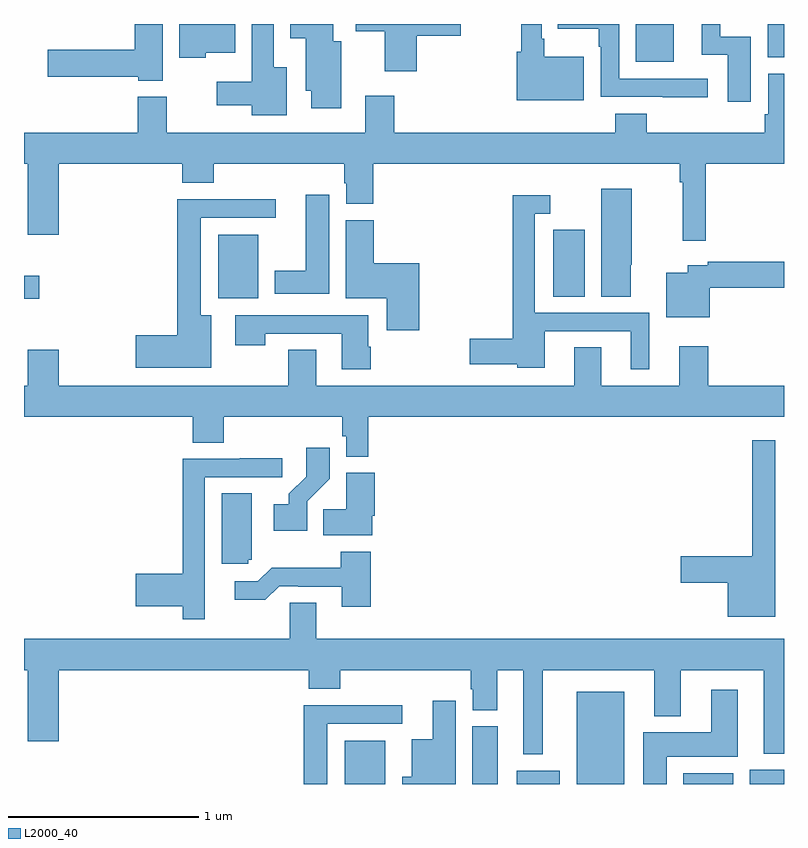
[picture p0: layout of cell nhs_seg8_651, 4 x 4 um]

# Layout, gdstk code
import gdstk
lib = gdstk.Library(unit=1e-6, precision=1e-09)
def R(c, l, rs):  # rectangles x0, y0, x1, y1
    for r in rs: c.add(gdstk.rectangle(r[:2], r[2:], *l))
def P(c, l, *ps):  # polygons
    for p in ps: c.add(gdstk.Polygon(p, *l))
L2000_40 = (2000, 40)

nhs_seg8_651 = lib.new_cell('nhs_seg8_651')
R(nhs_seg8_651, L2000_40, [(154.688,1115.9,154.9,1116.127), (155.36,1115.9,155.494,1116.204), (155.594,1115.9,155.821,1115.971), (155.909,1115.9,156.16,1116.385), (156.47,1115.9,156.733,1115.956), (156.821,1115.9,157,1115.974), (153,1118.453,153.079,1118.575), (154.022,1118.456,154.234,1118.791), (155.786,1118.464,155.95,1118.818), (156.221,1119.701,156.421,1119.9), (156.914,1119.726,157,1119.9)])
P(nhs_seg8_651, L2000_40, [(156.826,1119.834),(156.664,1119.834),(156.664,1119.9),(156.566,1119.9),(156.566,1119.738),(156.704,1119.738),(156.704,1119.492),(156.826,1119.492)],
  [(155.947,1119.727),(155.737,1119.727),(155.737,1119.823),(155.724,1119.823),(155.724,1119.9),(155.616,1119.9),(155.616,1119.754),(155.594,1119.754),(155.594,1119.5),(155.947,1119.5)],
  [(154.669,1119.808),(154.627,1119.808),(154.627,1119.9),(154.4,1119.9),(154.4,1119.824),(154.484,1119.824),(154.484,1119.549),(154.511,1119.549),(154.511,1119.456),(154.669,1119.456)],
  [(154.384,1119.673),(154.315,1119.673),(154.315,1119.9),(154.199,1119.9),(154.199,1119.595),(154.014,1119.595),(154.014,1119.473),(154.199,1119.473),(154.199,1119.419),(154.384,1119.419)],
  [(156.598,1119.612),(156.132,1119.612),(156.132,1119.9),(155.809,1119.9),(155.809,1119.875),(156.024,1119.875),(156.024,1119.779),(156.036,1119.779),(156.036,1119.516),(156.361,1119.516),(156.361,1119.515),(156.598,1119.515)],
  [(155.066,1119.839),(155.299,1119.839),(155.299,1119.9),(154.746,1119.9),(154.746,1119.862),(154.898,1119.862),(154.898,1119.651),(155.066,1119.651)],
  [(153.73,1119.9),(153.584,1119.9),(153.584,1119.764),(153.126,1119.764),(153.126,1119.622),(153.6,1119.622),(153.6,1119.602),(153.73,1119.602)],
  [(153.957,1119.749),(154.111,1119.749),(154.111,1119.9),(153.818,1119.9),(153.818,1119.722),(153.957,1119.722)],
  [(156.587,1119.164),(157,1119.164),(157,1119.637),(156.918,1119.637),(156.918,1119.424),(156.898,1119.424),(156.898,1119.328),(156.278,1119.328),(156.278,1119.427),(156.113,1119.427),(156.113,1119.328),(154.949,1119.328),(154.949,1119.523),(154.796,1119.523),(154.796,1119.328),(153.751,1119.328),(153.751,1119.517),(153.599,1119.517),(153.599,1119.328),(153,1119.328),(153,1119.164),(153.02,1119.164),(153.02,1118.79),(153.184,1118.79),(153.184,1119.164),(153.833,1119.164),(153.833,1119.065),(153.998,1119.065),(153.998,1119.164),(154.685,1119.164),(154.685,1119.063),(154.697,1119.063),(154.697,1118.953),(154.838,1118.953),(154.838,1119.164),(156.451,1119.164),(156.451,1119.068),(156.466,1119.068),(156.466,1118.76),(156.587,1118.76)],
  [(156.193,1118.634),(156.199,1118.634),(156.199,1119.034),(156.038,1119.034),(156.038,1118.464),(156.193,1118.464)],
  [(154.606,1119.001),(154.484,1119.001),(154.484,1118.602),(154.319,1118.602),(154.319,1118.48),(154.606,1118.48)],
  [(156.292,1118.379),(155.688,1118.379),(155.688,1118.901),(155.77,1118.901),(155.77,1118.998),(155.572,1118.998),(155.572,1118.243),(155.346,1118.243),(155.346,1118.108),(155.595,1118.108),(155.595,1118.09),(155.74,1118.09),(155.74,1118.283),(156.194,1118.283),(156.194,1118.082),(156.292,1118.082)],
  [(153.985,1118.368),(153.931,1118.368),(153.931,1118.88),(154.324,1118.88),(154.324,1118.978),(153.806,1118.978),(153.806,1118.261),(153.588,1118.261),(153.588,1118.09),(153.985,1118.09)],
  [(155.081,1118.641),(154.841,1118.641),(154.841,1118.868),(154.694,1118.868),(154.694,1118.456),(154.91,1118.456),(154.91,1118.289),(155.081,1118.289)],
  [(156.61,1118.512),(157,1118.512),(157,1118.648),(156.598,1118.648),(156.598,1118.629),(156.494,1118.629),(156.494,1118.59),(156.38,1118.59),(156.38,1118.357),(156.61,1118.357)],
  [(154.826,1118.201),(154.813,1118.201),(154.813,1118.367),(154.113,1118.367),(154.113,1118.208),(154.269,1118.208),(154.269,1118.271),(154.673,1118.271),(154.673,1118.082),(154.826,1118.082)],
  [(154.811,1117.832),(157,1117.832),(157,1117.996),(156.602,1117.996),(156.602,1118.203),(156.449,1118.203),(156.449,1117.996),(156.037,1117.996),(156.037,1118.198),(155.897,1118.198),(155.897,1117.996),(154.537,1117.996),(154.537,1118.186),(154.39,1118.186),(154.39,1117.996),(153.184,1117.996),(153.184,1118.185),(153.02,1118.185),(153.02,1117.996),(153,1117.996),(153,1117.832),(153.887,1117.832),(153.887,1117.696),(154.052,1117.696),(154.052,1117.832),(154.675,1117.832),(154.675,1117.731),(154.695,1117.731),(154.695,1117.622),(154.811,1117.622)],
  [(156.955,1117.708),(156.834,1117.708),(156.834,1117.1),(156.456,1117.1),(156.456,1116.958),(156.704,1116.958),(156.704,1116.779),(156.955,1116.779)],
  [(154.491,1117.387),(154.61,1117.506),(154.61,1117.669),(154.485,1117.669),(154.485,1117.517),(154.394,1117.427),(154.394,1117.372),(154.314,1117.372),(154.314,1117.232),(154.491,1117.232)],
  [(153.952,1116.99),(153.951,1116.99),(153.951,1117.515),(154.36,1117.515),(154.36,1117.614),(154.135,1117.614),(154.135,1117.611),(153.835,1117.611),(153.835,1117.007),(153.588,1117.007),(153.588,1116.836),(153.835,1116.836),(153.835,1116.768),(153.952,1116.768)],
  [(154.834,1117.312),(154.847,1117.312),(154.847,1117.537),(154.697,1117.537),(154.697,1117.346),(154.576,1117.346),(154.576,1117.208),(154.834,1117.208)],
  [(154.179,1117.08),(154.198,1117.08),(154.198,1117.429),(154.04,1117.429),(154.04,1117.059),(154.179,1117.059)],
  [(154.826,1117.123),(154.666,1117.123),(154.666,1117.039),(154.303,1117.039),(154.23,1116.966),(154.11,1116.966),(154.11,1116.869),(154.271,1116.869),(154.344,1116.942),(154.444,1116.942),(154.444,1116.939),(154.673,1116.939),(154.673,1116.834),(154.826,1116.834)],
  [(154.398,1116.854),(154.398,1116.664),(153,1116.664),(153,1116.5),(153.02,1116.5),(153.02,1116.126),(153.184,1116.126),(153.184,1116.5),(154.499,1116.5),(154.499,1116.401),(154.664,1116.401),(154.664,1116.5),(155.351,1116.5),(155.351,1116.399),(155.363,1116.399),(155.363,1116.289),(155.491,1116.289),(155.491,1116.5),(155.627,1116.5),(155.627,1116.056),(155.731,1116.056),(155.731,1116.5),(156.317,1116.5),(156.317,1116.257),(156.457,1116.257),(156.457,1116.5),(156.893,1116.5),(156.893,1116.059),(157,1116.059),(157,1116.664),(154.537,1116.664),(154.537,1116.854)],
  [(156.382,1116.044),(156.757,1116.044),(156.757,1116.397),(156.617,1116.397),(156.617,1116.172),(156.26,1116.172),(156.26,1115.9),(156.382,1115.9)],
  [(155.272,1116.337),(155.15,1116.337),(155.15,1116.136),(155.042,1116.136),(155.042,1115.938),(154.991,1115.938),(154.991,1115.9),(155.272,1115.9)],
  [(154.597,1116.216),(154.99,1116.216),(154.99,1116.314),(154.472,1116.314),(154.472,1115.9),(154.597,1115.9)])

lib.write_gds('nhs_seg8_651.gds')
